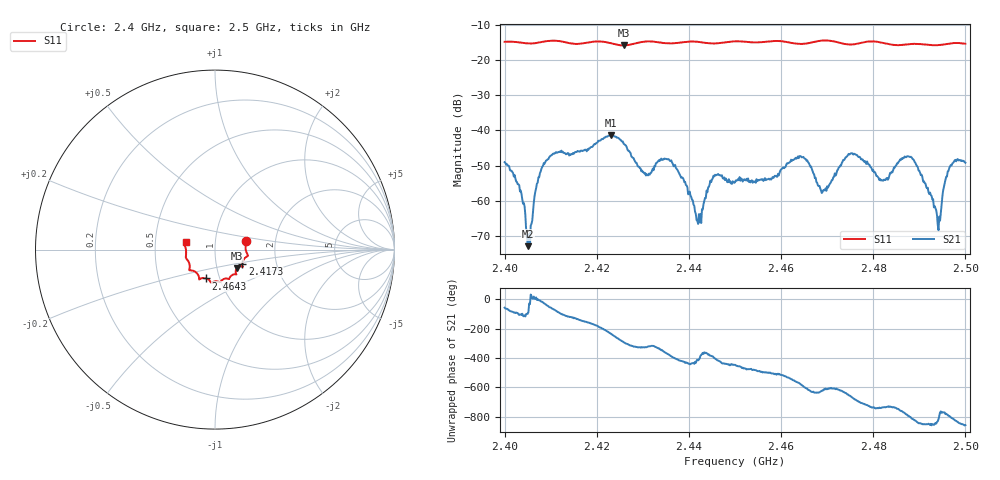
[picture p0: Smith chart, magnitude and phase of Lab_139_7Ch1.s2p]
# Hz S RI R 50
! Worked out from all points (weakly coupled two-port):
!   601 points, 2.4 GHz to 2.5 GHz, reference 50 ohm
!   highest |S21| = -41.36 dB at 2.4232 GHz (marker M1); lowest = -72.8 dB at 2.405 GHz (marker M2)
!   lowest |S11| = -15.9 dB at 2.4258 GHz (marker M3), VSWR 1.38, Z = 62.3 - j13.2 ohm
!   |S11| at or under -10 dB: start of sweep to end of sweep
!   S12 and S22 are empty: the file has one direction only
!   S11 on the Smith chart (normalised r, x): 2.4 GHz: 1.41, +0.14; 2.4173 GHz: 1.34, -0.23; 2.4643 GHz: 0.86, -0.28; 2.5 GHz: 0.72, +0.06
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2.4e9  0.1732 0.0494  0.00188 -0.00301  0 0  0 0
2.403167e9  0.174 0.0334  -0.000518 -0.0016  0 0  0 0
2.405e9  0.1704 0.0137  -4.03e-05 -0.000225  0 0  0 0
2.408667e9  0.1805 -0.0259  0.00292 -0.00169  0 0  0 0
2.416667e9  0.153 -0.0747  -0.00426 -0.00294  0 0  0 0
2.417333e9  0.1522 -0.082  -0.00471 -0.00243  0 0  0 0
2.423167e9  0.1441 -0.0934  -0.00457 0.00722  0 0  0 0
2.425833e9  0.122 -0.1035  0.00254 0.00594  0 0  0 0
2.430667e9  0.1189 -0.1381  0.00193 0.00125  0 0  0 0
2.433333e9  0.113 -0.1371  0.00333 0.00159  0 0  0 0
2.442167e9  0.0738 -0.1635  0.000405 -0.000509  0 0  0 0
2.4455e9  0.0518 -0.1628  0.00168 -0.00146  0 0  0 0
2.45e9  0.0295 -0.1808  9.64e-05 -0.00184  0 0  0 0
2.464333e9  -0.05 -0.1606  -0.00321 0.00282  0 0  0 0
2.466667e9  -0.0759 -0.1596  5.91e-05 0.00287  0 0  0 0
2.469e9  -0.0875 -0.1662  -0.000143 0.00134  0 0  0 0
2.475e9  -0.1059 -0.1266  0.00222 0.00408  0 0  0 0
2.483333e9  -0.1408 -0.0898  0.00207 -0.000348  0 0  0 0
2.488333e9  -0.1609 -0.0488  -0.000228 -0.00414  0 0  0 0
2.494167e9  -0.1619 0.000328  -4.7e-05 -0.000382  0 0  0 0
2.496667e9  -0.1692 0.0241  0.000529 -0.00305  0 0  0 0
2.5e9  -0.1639 0.0422  -0.00259 -0.00233  0 0  0 0
